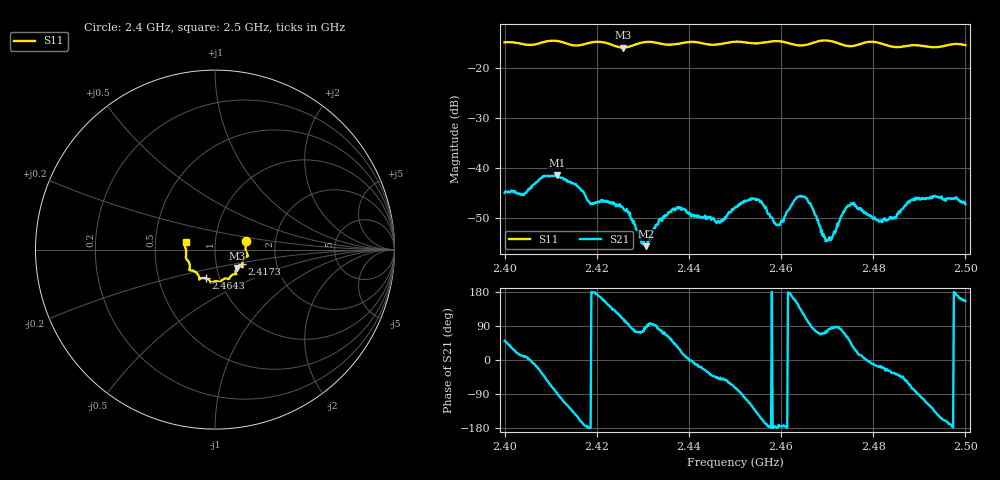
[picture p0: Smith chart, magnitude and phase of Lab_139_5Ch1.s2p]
# Hz S RI R 50
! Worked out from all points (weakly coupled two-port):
!   601 points, 2.4 GHz to 2.5 GHz, reference 50 ohm
!   highest |S21| = -41.52 dB at 2.4113 GHz (marker M1); lowest = -55.7 dB at 2.4307 GHz (marker M2)
!   lowest |S11| = -15.9 dB at 2.4257 GHz (marker M3), VSWR 1.38, Z = 62.4 - j13.1 ohm
!   |S11| at or under -10 dB: start of sweep to end of sweep
!   S12 and S22 are empty: the file has one direction only
!   S11 on the Smith chart (normalised r, x): 2.4 GHz: 1.41, +0.14; 2.4173 GHz: 1.34, -0.23; 2.4643 GHz: 0.86, -0.28; 2.5 GHz: 0.72, +0.06
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2.4e9  0.1736 0.0493  0.00359 0.00433  0 0  0 0
2.404167e9  0.1711 0.0231  0.00527 0.000846  0 0  0 0
2.408167e9  0.1785 -0.0221  0.00642 -0.00478  0 0  0 0
2.411333e9  0.1829 -0.0352  0.000515 -0.00838  0 0  0 0
2.416667e9  0.1524 -0.0749  -0.00565 -0.0017  0 0  0 0
2.417333e9  0.1519 -0.0823  -0.00542 -0.000678  0 0  0 0
2.418833e9  0.1532 -0.0942  -0.00441 1.99e-05  0 0  0 0
2.425667e9  0.1224 -0.1024  -0.00129 0.00375  0 0  0 0
2.430667e9  0.1187 -0.1379  5.94e-05 0.00164  0 0  0 0
2.433333e9  0.1128 -0.1366  0.000331 0.0027  0 0  0 0
2.437667e9  0.0839 -0.1529  0.00331 0.0021  0 0  0 0
2.4465e9  0.0435 -0.1668  0.00195 -0.00213  0 0  0 0
2.45e9  0.0297 -0.1806  0.00116 -0.00384  0 0  0 0
2.454833e9  0.00314 -0.1763  -0.00373 -0.0031  0 0  0 0
2.459333e9  -0.0225 -0.1839  -0.0027 -6.8e-05  0 0  0 0
2.464333e9  -0.0503 -0.1601  -0.00348 0.00395  0 0  0 0
2.466667e9  -0.0761 -0.1595  0.000282 0.00411  0 0  0 0
2.470167e9  -0.0874 -0.1661  0.000355 0.00183  0 0  0 0
2.475e9  -0.1064 -0.1263  0.0028 0.00314  0 0  0 0
2.483333e9  -0.1405 -0.0895  0.00267 -0.00145  0 0  0 0
2.4895e9  -0.1627 -0.0441  0.000199 -0.00497  0 0  0 0
2.5e9  -0.164 0.0421  -0.00394 0.00178  0 0  0 0
